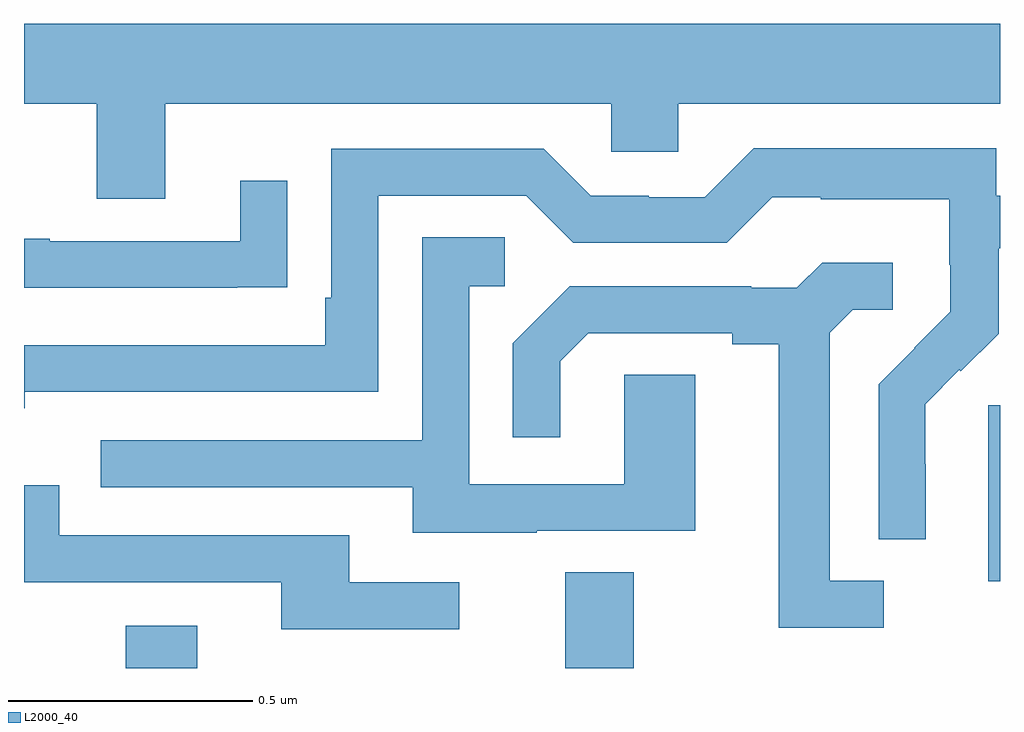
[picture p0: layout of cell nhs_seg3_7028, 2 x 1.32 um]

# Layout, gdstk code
import gdstk
lib = gdstk.Library(unit=1e-6, precision=1e-09)
def R(c, l, rs):  # rectangles x0, y0, x1, y1
    for r in rs: c.add(gdstk.rectangle(r[:2], r[2:], *l))
def P(c, l, *ps):  # polygons
    for p in ps: c.add(gdstk.Polygon(p, *l))
L2000_40 = (2000, 40)

nhs_seg3_7028 = lib.new_cell('nhs_seg3_7028')
R(nhs_seg3_7028, L2000_40, [(198.208,726.4,198.355,726.487), (199.109,726.4,199.249,726.596), (199.976,726.578,200,726.939)])
P(nhs_seg3_7028, L2000_40, [(198.289,727.556),(199.203,727.556),(199.203,727.458),(199.341,727.458),(199.341,727.556),(200,727.556),(200,727.72),(198,727.72),(198,727.556),(198.149,727.556),(198.149,727.362),(198.289,727.362)],
  [(199.848,726.818),(199.847,726.818),(199.847,726.941),(199.917,727.011),(199.92,727.008),(199.997,727.085),(199.997,727.26),(200,727.26),(200,727.368),(199.992,727.368),(199.992,727.465),(199.495,727.465),(199.395,727.365),(199.28,727.365),(199.28,727.368),(199.161,727.368),(199.065,727.464),(198.63,727.464),(198.63,727.159),(198.617,727.159),(198.617,727.062),(198,727.062),(198,726.932),(198.002,726.932),(198.002,726.966),(198.726,726.966),(198.726,727.368),(199.029,727.368),(199.125,727.272),(199.44,727.272),(199.533,727.365),(199.633,727.365),(199.633,727.361),(199.896,727.361),(199.896,727.227),(199.898,727.227),(199.898,727.13),(199.824,727.056),(199.825,727.055),(199.752,726.982),(199.752,726.664),(199.848,726.664)],
  [(198.437,727.18),(198.539,727.18),(198.539,727.399),(198.443,727.399),(198.443,727.275),(198.053,727.275),(198.053,727.28),(198,727.28),(198,727.179),(198.437,727.179)],
  [(199.051,726.681),(199.375,726.681),(199.375,727.001),(199.23,727.001),(199.23,726.777),(198.912,726.777),(198.912,727.182),(198.985,727.182),(198.985,727.283),(198.816,727.283),(198.816,726.867),(198.157,726.867),(198.157,726.771),(198.797,726.771),(198.797,726.677),(199.051,726.677)],
  [(199.762,726.579),(199.651,726.579),(199.651,727.087),(199.698,727.134),(199.78,727.134),(199.78,727.231),(199.636,727.231),(199.584,727.179),(199.49,727.179),(199.49,727.182),(199.118,727.182),(199.002,727.066),(199.002,726.873),(199.099,726.873),(199.099,727.029),(199.156,727.086),(199.451,727.086),(199.451,727.064),(199.547,727.064),(199.547,726.483),(199.762,726.483)],
  [(198.892,726.576),(198.667,726.576),(198.667,726.672),(198.072,726.672),(198.072,726.775),(198,726.775),(198,726.576),(198.527,726.576),(198.527,726.48),(198.892,726.48)])

lib.write_gds('nhs_seg3_7028.gds')
